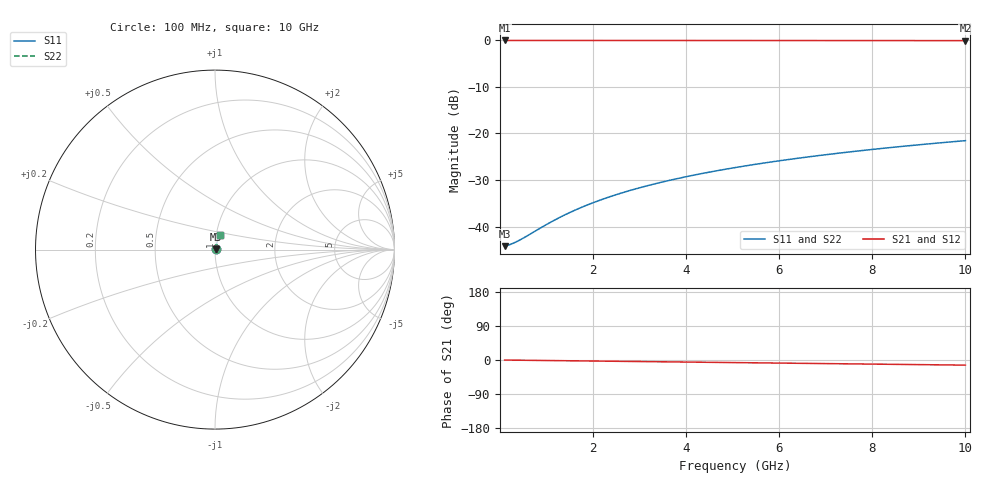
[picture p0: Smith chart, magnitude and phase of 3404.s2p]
# Hz S RI R 50.00
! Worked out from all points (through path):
!   100 points, 100 MHz to 10 GHz, reference 50 ohm
!   highest |S21| = -0.05 dB at 100 MHz (marker M1); lowest = -0.1 dB at 10 GHz (marker M2)
!   group delay of S21, straight-line fit = 3.76 ps
!   lowest |S11| = -44.2 dB at 100 MHz (marker M3), VSWR 1.01, Z = 50.6 + j0.084 ohm
!   |S11| at or under -10 dB: start of sweep to end of sweep
!   |S22| runs from -44.2 to -21.6 dB; largest |S21 - S12| = 0
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1e8  0.00611 0.000829  0.9939 -0.00235  0.9939 -0.00235  0.00611 0.000829
2e8  0.00616 0.00166  0.9938 -0.0047  0.9938 -0.0047  0.00616 0.00166
3e8  0.0062 0.00249  0.9938 -0.00706  0.9938 -0.00706  0.0062 0.00249
4e8  0.00623 0.00332  0.9937 -0.00941  0.9937 -0.00941  0.00623 0.00332
5e8  0.00627 0.00414  0.9937 -0.0118  0.9937 -0.0118  0.00627 0.00414
1e9  0.00649 0.00828  0.9934 -0.0235  0.9934 -0.0235  0.00649 0.00828
1.2e9  0.0066 0.00994  0.9932 -0.0282  0.9932 -0.0282  0.0066 0.00994
1.5e9  0.00679 0.0124  0.9929 -0.0353  0.9929 -0.0353  0.00679 0.0124
1.8e9  0.00701 0.0149  0.9926 -0.0423  0.9926 -0.0423  0.00701 0.0149
2.1e9  0.00726 0.0174  0.9922 -0.0493  0.9922 -0.0493  0.00726 0.0174
2.5e9  0.00765 0.0207  0.9916 -0.0587  0.9916 -0.0587  0.00765 0.0207
2.9e9  0.0081 0.0239  0.9909 -0.0681  0.9909 -0.0681  0.0081 0.0239
3.4e9  0.00875 0.028  0.9899 -0.0798  0.9899 -0.0798  0.00875 0.028
3.8e9  0.00934 0.0313  0.9889 -0.0891  0.9889 -0.0891  0.00934 0.0313
4.2e9  0.00998 0.0345  0.9879 -0.0985  0.9879 -0.0985  0.00998 0.0345
4.6e9  0.0107 0.0378  0.9868 -0.1078  0.9868 -0.1078  0.0107 0.0378
5.1e9  0.0117 0.0418  0.9852 -0.1194  0.9852 -0.1194  0.0117 0.0418
5.9e9  0.0134 0.0482  0.9825 -0.138  0.9825 -0.138  0.0134 0.0482
6.7e9  0.0154 0.0545  0.9793 -0.1564  0.9793 -0.1564  0.0154 0.0545
7.5e9  0.0176 0.0607  0.9757 -0.1748  0.9757 -0.1748  0.0176 0.0607
8.4e9  0.0204 0.0676  0.9713 -0.1954  0.9713 -0.1954  0.0204 0.0676
1e10  0.026 0.0795  0.9622 -0.2316  0.9622 -0.2316  0.026 0.0795
